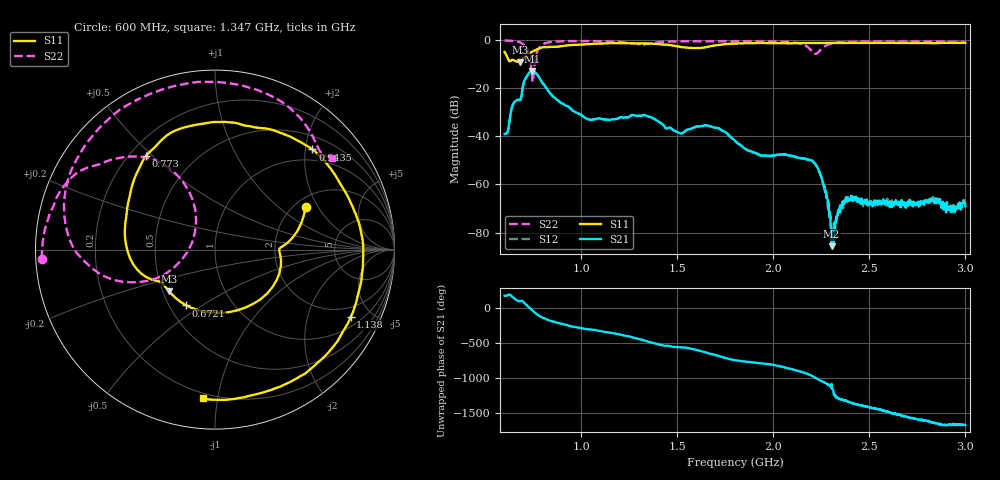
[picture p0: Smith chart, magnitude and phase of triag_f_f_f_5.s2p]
#  HZ  S  RI  R  50.00
! Rohde & Schwarz ZVB8 2Ports - Version 2.81 - 1145.1010k08 SN: 100113
! Date: 2016-05-03 01:38:20
! Measurements: S11 S21 S12 S22
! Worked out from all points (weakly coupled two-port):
!   1000 points, 600 MHz to 3 GHz, reference 50 ohm
!   highest |S21| = -12.89 dB at 744.1 MHz (marker M1); lowest = -85.6 dB at 2.303 GHz (marker M2)
!   lowest |S11| = -9.2 dB at 681.7 MHz (marker M3), VSWR 2.06, Z = 27 - j14.2 ohm
!   |S11| at or under -10 dB: nowhere
!   |S22| runs from -17.5 to -0.3 dB; largest |S21 - S12| = 0.0049
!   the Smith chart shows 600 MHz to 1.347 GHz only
!   S11 on the Smith chart (normalised r, x): 600 MHz: 2.29, +1.57; 672.1 MHz: 0.61, -0.43; 773 MHz: 0.27, +0.47; 943.5 MHz: 0.76, +2.14; 1.138 GHz: 1.44, -3.75; 1.347 GHz: 0.17, -0.91
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6e8  0.5047 0.2365  -0.011 0.00192  -0.011 0.00197  -0.9655 -0.0532
6.720721e8  -0.1605 -0.3109  -0.00428 0.0569  -0.00456 0.0567  -0.8351 0.3624
6.816817e8  -0.2569 -0.2314  -0.00187 0.0563  -0.00198 0.0561  -0.7726 0.4243
7.177177e8  -0.5014 0.0704  0.1564 0.0877  0.1559 0.0885  -0.3984 0.5153
7.441441e8  -0.4729 0.3076  0.1795 -0.1385  0.1792 -0.1382  -0.111 0.0994
7.72973e8  -0.3857 0.5201  -0.0425 -0.178  -0.0407 -0.1795  -0.5916 -0.1595
8.258258e8  -0.0587 0.7029  -0.0887 -0.00626  -0.0885 -0.00651  -0.8412 0.2435
9.435435e8  0.5429 0.5582  -0.00394 0.0374  -0.00411 0.0373  -0.5764 0.7416
1.001201e9  0.73 0.3144  0.0118 0.0248  0.0116 0.0248  -0.3751 0.8616
1.138138e9  0.7562 -0.3745  0.0219 0.00283  0.0218 0.00269  0.1669 0.9094
1.347147e9  -0.0679 -0.8288  -0.0142 -0.0214  -0.014 -0.0214  0.6504 0.512
1.4e9  -0.2962 -0.7606  -0.0194 -0.00621  -0.0193 -0.00629  0.7943 0.3959
1.572973e9  -0.5952 -0.3198  -0.0102 0.0102  -0.0102 0.0102  0.8947 -0.2683
1.801201e9  -0.7849 0.2852  0.00691 -0.00379  0.007 -0.00373  0.3528 -0.8588
2.000601e9  -0.2464 0.8082  -0.000434 -0.00405  -0.00033 -0.00398  -0.2974 -0.8701
2.2e9  0.489 0.7  -0.000963 0.00297  -0.00106 0.00295  -0.5086 -0.2839
2.257658e9  0.6638 0.5419  0.000956 0.00045  0.000979 0.000399  -0.428 -0.5389
2.303303e9  0.7745 0.3762  5.23e-05 -6.59e-06  2.37e-05 -6.49e-05  -0.6341 -0.5433
2.392192e9  0.8607 0.0104  -4.35e-05 0.000491  -7.94e-05 0.000497  -0.8372 -0.3373
2.601201e9  0.4613 -0.7279  0.000267 -0.00029  0.000255 -0.000285  -0.906 0.1776
2.786186e9  -0.2242 -0.8299  -0.000453 -9.98e-05  -0.000365 -7.78e-05  -0.7199 0.5685
3e9  -0.7808 -0.3668  -0.000208 0.00029  -0.000273 0.000281  -0.3165 0.8514
